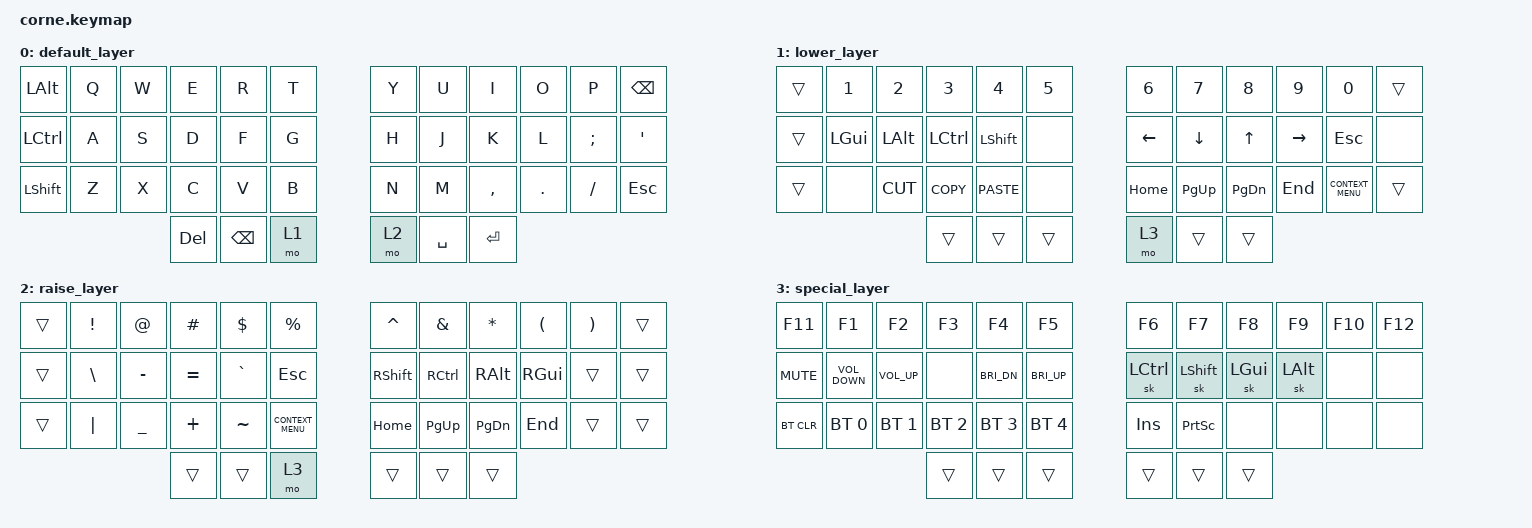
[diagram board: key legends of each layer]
/*
 * Copyright (c) 2020 The ZMK Contributors
 *
 * SPDX-License-Identifier: MIT
 */

#include <behaviors.dtsi>
#include <dt-bindings/zmk/keys.h>
#include <dt-bindings/zmk/bt.h>

/*  Original
/ {
        keymap {
                compatible = "zmk,keymap";

                default_layer {
// -----------------------------------------------------------------------------------------
// |  TAB |  Q  |  W  |  E  |  R  |  T  |   |  Y  |  U   |  I  |  O  |  P  | BSPC |
// | CTRL |  A  |  S  |  D  |  F  |  G  |   |  H  |  J   |  K  |  L  |  ;  |  '   |
// | SHFT |  Z  |  X  |  C  |  V  |  B  |   |  N  |  M   |  ,  |  .  |  /  | ESC  |
//                    | GUI | LWR | SPC |   | ENT | RSE  | ALT |
                        bindings = <
   &kp TAB   &kp Q &kp W &kp E &kp R &kp T   &kp Y &kp U  &kp I     &kp O   &kp P    &kp BSPC
   &kp LCTRL &kp A &kp S &kp D &kp F &kp G   &kp H &kp J  &kp K     &kp L   &kp SEMI &kp SQT
   &kp LSHFT &kp Z &kp X &kp C &kp V &kp B   &kp N &kp M  &kp COMMA &kp DOT &kp FSLH &kp ESC
                  &kp LGUI &mo 1 &kp SPACE   &kp RET &mo 2 &kp RALT
                        >;
                };
                lower_layer {
// -----------------------------------------------------------------------------------------
// |  TAB |  1  |  2  |  3  |  4  |  5  |   |  6  |  7  |  8  |  9  |  0  | BSPC |
// | BTCLR| BT1 | BT2 | BT3 | BT4 | BT5 |   | LFT | DWN |  UP | RGT |     |      |
// | SHFT |     |     |     |     |     |   |     |     |     |     |     |      |
//                    | GUI |     | SPC |   | ENT |     | ALT |
                        bindings = <
   &kp TAB    &kp N1       &kp N2       &kp N3       &kp N4       &kp N5         &kp N6   &kp N7   &kp N8 &kp N9    &kp N0 &kp BSPC
   &bt BT_CLR &bt BT_SEL 0 &bt BT_SEL 1 &bt BT_SEL 2 &bt BT_SEL 3 &bt BT_SEL 4   &kp LEFT &kp DOWN &kp UP &kp RIGHT &trans &trans
   &kp LSHFT  &trans       &trans       &trans       &trans       &trans         &trans   &trans   &trans &trans    &trans &trans
                                    &kp LGUI     &trans       &kp SPACE      &kp RET  &trans   &kp RALT
                        >;
                };

                raise_layer {
// -----------------------------------------------------------------------------------------
// |  TAB |  !  |  @  |  #  |  $  |  %  |   |  ^  |  &  |  *  |  (  |  )  | BSPC |
// | CTRL |     |     |     |     |     |   |  -  |  =  |  [  |  ]  |  \  |  `   |
// | SHFT |     |     |     |     |     |   |  _  |  +  |  {  |  }  | "|" |  ~   |
//                    | GUI |     | SPC |   | ENT |     | ALT |
                        bindings = <
   &kp  TAB  &kp EXCL &kp AT &kp HASH &kp DLLR &kp PRCNT   &kp CARET &kp AMPS  &kp ASTRK &kp LPAR &kp RPAR &kp BSPC
   &kp LCTRL &trans   &trans &trans   &trans   &trans      &kp MINUS &kp EQUAL &kp LBKT  &kp RBKT &kp BSLH &kp GRAVE
   &kp LSHFT &trans   &trans &trans   &trans   &trans      &kp UNDER &kp PLUS  &kp LBRC  &kp RBRC &kp PIPE &kp TILDE
                             &kp LGUI &trans   &kp SPACE   &kp RET   &trans    &kp RALT
                        >;
                };
        };
};
*/


// 2026-05-27 Greenfield design:
// Layer 0:
//-----------------------------------------------------------------------------------------------------------------------------------------------------------------------------------------------------------------------
//|||||||    Left Alt    |       Q       |       W       |       E       |       R       |       T       |||||||||||||||       Y       |       U       |       I       |       O       |       P       |   Left GUI    |
//|||||||  Left Control  |       A       |       S       |       D       |       F       |       G       |||||||||||||||       H       |       J       |       K       |       L       |       ;       |       '       |
//|||||||   Left Shift   |       Z       |       X       |       C       |       V       |       B       |||||||||||||||       N       |       M       |       ,       |       .       |       /       |  Right Shift  |
//||||||||||||||||||||||||||||||||||||||||||||||||||||||||     Delete    |   Backspace   |    Layer 1    |||||||||||||||    Layer 2    |     Space     |    Return     |||||||||||||||||||||||||||||||||||||||||||||||||
//-----------------------------------------------------------------------------------------------------------------------------------------------------------------------------------------------------------------------

// Layer 1:
//-----------------------------------------------------------------------------------------------------------------------------------------------------------------------------------------------------------------------
//|||||||   (Left Alt)   |       1       |       2       |       3       |       4       |       5       |||||||||||||||       6       |       7       |       8       |       9       |       0       |  (Left GUI)   |
//||||||| (Left Control) |   Left GUI    |   Left Alt    |  Left Control |  Left Shift   |               |||||||||||||||     Left      |     Down      |       Up      |     Right     |    Escape     |               |
//|||||||  (Left Shift)  |               |  shift-delete |  ctrl-insert  | shift-insert  |               |||||||||||||||     Home      |   Page Down   |    Page Up    |      End      |  Context Menu | (Right Shift) |
//||||||||||||||||||||||||||||||||||||||||||||||||||||||||               |               |   (pressed)   |||||||||||||||    Layer 3    |               |               |||||||||||||||||||||||||||||||||||||||||||||||||
//-----------------------------------------------------------------------------------------------------------------------------------------------------------------------------------------------------------------------

// Layer 2:
//-----------------------------------------------------------------------------------------------------------------------------------------------------------------------------------------------------------------------
//|||||||   (Left Alt)   |       !       |       @       |       #       |       $       |       %       |||||||||||||||       ^       |       &       |       *       |       (       |       )       |  (Left GUI)   |
//||||||| (Left Control) |       \       |       -       |       =       |       `       |    Escape     |||||||||||||||  Right Shift  | Right Control |   Right Alt   |   Right GUI   |               |               |
//|||||||  (Left Shift)  |     Pipe      |       _       |       +       |       ~       |  Context Menu |||||||||||||||     Home      |   Page Down   |    Page Up    |      End      |               | (Right Shift) |
//||||||||||||||||||||||||||||||||||||||||||||||||||||||||               |               |    Layer 3    |||||||||||||||   (pressed)   |               |               |||||||||||||||||||||||||||||||||||||||||||||||||
//-----------------------------------------------------------------------------------------------------------------------------------------------------------------------------------------------------------------------

// Layer 3:
//-----------------------------------------------------------------------------------------------------------------------------------------------------------------------------------------------------------------------
//|||||||       F11      |      F1       |      F2       |      F3       |      F4       |      F5       |||||||||||||||      F6       |      F7       |      F8       |      F9       |      F10      |      F12      |
//|||||||   Volume Mute  |  Volume Down  |   Volume Up   |               |  Bright Down  |   Bright Up   ||||||||||||||| L Control Stk |  L Shift Stk  | L Super Stk   | L Alt Sticky  |               |               |
//||||||| Bluetooth Clr  |  Bluetooth 1  |  Bluetooth 2  |  Bluetooth 3  |  Bluetooth 4  |  Bluetooth 5  |||||||||||||||    Insert     |   PrintScr    |               |               |               |               |
//||||||||||||||||||||||||||||||||||||||||||||||||||||||||               |               |   (pressed)   |||||||||||||||   (pressed)   |               |               |||||||||||||||||||||||||||||||||||||||||||||||||
//-----------------------------------------------------------------------------------------------------------------------------------------------------------------------------------------------------------------------
/ {
        keymap {
                compatible = "zmk,keymap";

                default_layer {
// -----------------------------------------------------------------------------------------
// |  TAB |  Q  |  W  |  E  |  R  |  T  |   |  Y  |  U   |  I  |  O  |  P  | BSPC |
// | CTRL |  A  |  S  |  D  |  F  |  G  |   |  H  |  J   |  K  |  L  |  ;  |  '   |
// | SHFT |  Z  |  X  |  C  |  V  |  B  |   |  N  |  M   |  ,  |  .  |  /  | ESC  |
//                    | GUI | LWR | SPC |   | ENT | RSE  | ALT |
                        bindings = <
   &kp LALT  &kp Q &kp W &kp E &kp R &kp T   &kp Y &kp U  &kp I     &kp O   &kp P    &kp BSPC
   &kp LCTRL &kp A &kp S &kp D &kp F &kp G   &kp H &kp J  &kp K     &kp L   &kp SEMI &kp SQT
   &kp LSHFT &kp Z &kp X &kp C &kp V &kp B   &kp N &kp M  &kp COMMA &kp DOT &kp FSLH &kp ESC
                  &kp DEL &kp BSPC &mo 1   &mo 2 &kp SPACE &kp RET
                        >;
                };
                lower_layer {
                        bindings = <
/*#####*/ &trans             /*#####*/ &kp    N1          /*#####*/ &kp    N2          /*#####*/ &kp N3             /*#####*/ &kp N4             /*#####*/ &kp N5             /*### ###*/ &kp N6             /*#####*/ &kp N7             /*#####*/ &kp N8             /*#####*/ &kp N9             /*#####*/ &kp N0             /*#####*/ &trans             /*#####*/
/*#####*/ &trans             /*#####*/ &kp    LGUI        /*#####*/ &kp    LALT        /*#####*/ &kp LCTRL          /*#####*/ &kp LSHFT          /*#####*/ &none              /*### ###*/ &kp LEFT           /*#####*/ &kp DOWN           /*#####*/ &kp UP             /*#####*/ &kp RIGHT          /*#####*/ &kp ESCAPE         /*#####*/ &none              /*#####*/
/*#####*/ &trans             /*#####*/ &none              /*#####*/ &kp    K_CUT       /*#####*/ &kp K_COPY         /*#####*/ &kp K_PASTE        /*#####*/ &none              /*### ###*/ &kp HOME           /*#####*/ &kp PG_UP          /*#####*/ &kp PG_DN          /*#####*/ &kp END            /*#####*/ &kp K_CONTEXT_MENU /*#####*/ &trans             /*#####*/
/*############################################################################################*/ &trans             /*#####*/ &trans             /*#####*/ &trans             /*### ###*/ &mo 3              /*#####*/ &trans             /*#####*/ &trans             /*############################################################################################*/
                        >;
                };

                raise_layer {
                        bindings = <
/*#####*/ &trans             /*#####*/ &kp    EXCL        /*#####*/ &kp    AT          /*#####*/ &kp HASH           /*#####*/ &kp DLLR           /*#####*/ &kp PRCNT          /*### ###*/ &kp CARET          /*#####*/ &kp AMPS           /*#####*/ &kp ASTRK          /*#####*/ &kp LPAR           /*#####*/ &kp RPAR           /*#####*/ &trans             /*#####*/
/*#####*/ &trans             /*#####*/ &kp    BACKSLASH   /*#####*/ &kp MINUS          /*#####*/ &kp EQUAL          /*#####*/ &kp GRAVE          /*#####*/ &kp ESCAPE         /*### ###*/ &kp RSHFT          /*#####*/ &kp RCTRL          /*#####*/ &kp RALT           /*#####*/ &kp RGUI           /*#####*/ &trans             /*#####*/ &trans             /*#####*/
/*#####*/ &trans             /*#####*/ &kp    PIPE        /*#####*/ &kp UNDERSCORE     /*#####*/ &kp PLUS           /*#####*/ &kp TILDE          /*#####*/ &kp K_CONTEXT_MENU /*### ###*/ &kp HOME           /*#####*/ &kp PG_UP          /*#####*/ &kp PG_DN          /*#####*/ &kp END            /*#####*/ &trans             /*#####*/ &trans             /*#####*/
/*############################################################################################*/ &trans             /*#####*/ &trans             /*#####*/ &mo 3              /*### ###*/ &trans             /*#####*/ &trans             /*#####*/ &trans             /*############################################################################################*/
                        >;
                };

                special_layer {
                        bindings = <
/*#####*/ &kp F11            /*#####*/ &kp    F1          /*#####*/ &kp    F2          /*#####*/ &kp F3             /*#####*/ &kp F4             /*#####*/ &kp F5             /*### ###*/ &kp F6             /*#####*/ &kp F7             /*#####*/ &kp F8             /*#####*/ &kp F9             /*#####*/ &kp F10            /*#####*/ &kp F12            /*#####*/
/*#####*/ &kp K_MUTE         /*#####*/ &kp K_VOLUME_DOWN  /*#####*/ &kp K_VOLUME_UP    /*#####*/ &none              /*#####*/ &kp C_BRI_DN       /*#####*/ &kp C_BRI_UP       /*### ###*/ &sk LCTRL          /*#####*/ &sk LSHFT          /*#####*/ &sk LGUI           /*#####*/ &sk LALT           /*#####*/ &none              /*#####*/ &none              /*#####*/
/*#####*/ &bt BT_CLR         /*#####*/ &bt BT_SEL 0       /*#####*/ &bt BT_SEL 1       /*#####*/ &bt BT_SEL 2       /*#####*/ &bt BT_SEL 3       /*#####*/ &bt BT_SEL 4       /*### ###*/ &kp INSERT         /*#####*/ &kp PRINTSCREEN    /*#####*/ &none              /*#####*/ &none              /*#####*/ &none              /*#####*/ &none              /*#####*/
/*############################################################################################*/ &trans             /*#####*/ &trans             /*#####*/ &trans             /*### ###*/ &trans             /*#####*/ &trans             /*#####*/ &trans             /*############################################################################################*/
                        >;
                };
        };
};
